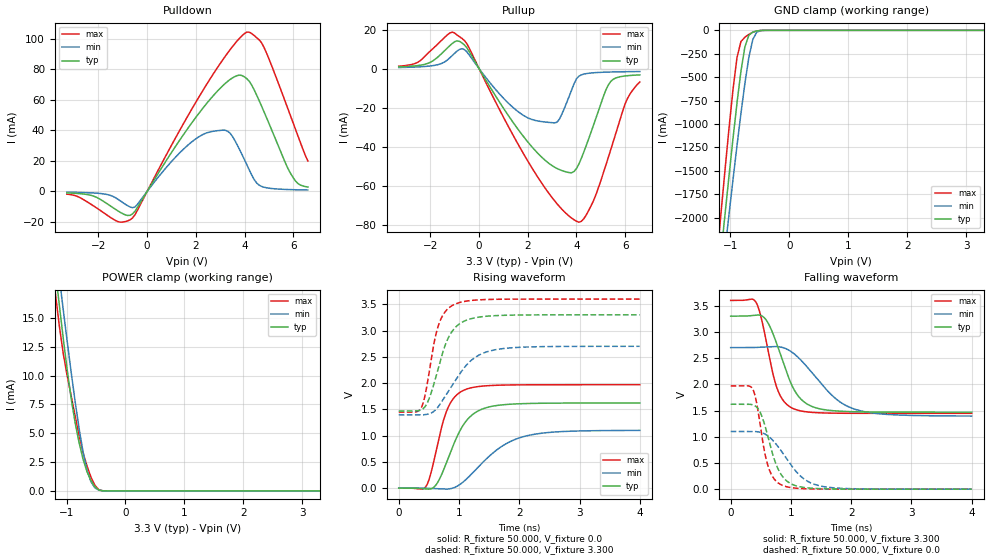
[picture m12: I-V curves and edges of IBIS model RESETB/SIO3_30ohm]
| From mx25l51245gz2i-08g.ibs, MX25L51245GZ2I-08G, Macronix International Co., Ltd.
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|   Model RESETB/SIO3_30ohm
[Model] RESETB/SIO3_30ohm
Model_type I/O
Vinl = 0.8
Vinh = 2.31
Vmeas = 1.65
Vref = 3.3
Cref = 30pF
Rref = 25000
Polarity   Non-Inverting
Enable   Active-High
C_comp   5.061pF   4.478pF   5.895pF
[Temperature Range]   25.000   85.000   -40.000
[Voltage Range]   3.300V   2.700V   3.600V
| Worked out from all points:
|   slope of the pulldown table from 0 to 0.495 V, typ, clamps not added: 38.5 ohm
|   slope of the pullup table from 0 to 0.495 V, typ, clamps not added: 48 ohm
|   GND clamp passes 1 mA (typ) near -0.46 V on its own axis
|   POWER clamp passes 1 mA (typ) near -0.60 V on its own axis
|   rising waveform, R_fixture 50.000, V_fixture 0.0: 20-80 % time 396ps typ, 671ps min, 278ps max; typ from 0 V to 1.62 V
|   rising waveform, R_fixture 50.000, V_fixture 3.300: 20-80 % time 313ps typ, 491ps min, 225ps max; typ from 1.47 V to 3.3 V
|   falling waveform, R_fixture 50.000, V_fixture 3.300: 20-80 % time 373ps typ, 640ps min, 258ps max; typ from 3.3 V to 1.47 V
|   falling waveform, R_fixture 50.000, V_fixture 0.0: 20-80 % time 267ps typ, 450ps min, 192ps max; typ from 1.62 V to 0 V
[Pulldown]
|Voltage   I(typ)   I(min)   I(max)
-3.3V     -1.012mA   -535uA     -1.793mA
-2.2V     -3.111mA   -1.05mA    -9.544mA
-1.2V     -12.79mA   -5.179mA   -19.81mA
-600mV    -14.73mA   -10.67mA   -17.37mA
1.3V      32.69mA    24.63mA    38.92mA
2.4V      56.71mA    38.03mA    68.97mA
3.3V      71.96mA    39.48mA    90.5mA
4.1V      73.69mA    17.22mA    104.3mA
4.5V      62.92mA    5.432mA    100.6mA
4.8V      52.09mA    2.715mA    94.25mA
5.9V      11.47mA    1.148mA    48.92mA
6.6V      2.853mA    902.4uA    19.91mA
[Pullup]
|Voltage   I(typ)   I(min)   I(max)
-3.3V     883.2uA    574.5uA    1.25mA
-2.1V     2.727mA    1.243mA    7.89mA
-1.2V     11.8mA     5.552mA    18.27mA
-700mV    13.16mA    10.19mA    15.44mA
1.2V      -23.99mA   -17.65mA   -29.57mA
2.3V      -41.86mA   -26.52mA   -53.42mA
3.2V      -51.14mA   -27.44mA   -69.19mA
4.1V      -48.82mA   -3.867mA   -78.65mA
4.7V      -28.92mA   -2.118mA   -67.62mA
5.4V      -6.683mA   -1.726mA   -41.8mA
6V        -3.752mA   -1.585mA   -17.96mA
6.6V      -3.216mA   -1.503mA   -6.866mA
[GND_clamp]
|Voltage   I(typ)   I(min)   I(max)
-3.3V     -16.23A    -15.29A    -17.38A
-1.223V   -2.783A    -3.091A    -2.392A
-1.156V   -2.364A    -2.709A    -1.929A
-1.089V   -1.951A    -2.331A    -1.475A
-1.022V   -1.545A    -1.957A    -1.037A
-888mV    -775.2mA   -1.232A    -290.6mA
-821mV    -436.7mA   -887.4mA   -119.8mA
-754mV    -176.6mA   -566.8mA   -73.99mA
-620mV    -18.94mA   -98.07mA   -19.97mA
-553mV    -6.72mA    -19.76mA   -6.453mA
-419mV    -212uA     -410.3uA   -100.3uA
3.3V      0A         0A         0A
[POWER_clamp]
|Voltage   I(typ)   I(min)   I(max)
-3.266V   120.5mA    115.3mA    127.3mA
-1.189V   19.07mA    21.32mA    17.11mA
-1.122V   16.07mA    18.46mA    14.27mA
-1.055V   13.17mA    15.66mA    11.87mA
-921mV    7.978mA    10.25mA    8.227mA
-854mV    5.896mA    7.725mA    6.492mA
-787mV    4.181mA    5.399mA    4.778mA
-720mV    2.755mA    3.383mA    3.317mA
-653mV    1.666mA    1.816mA    2.16mA
-586mV    894.9uA    791.3uA    1.195mA
-452mV    86.45uA    64.08uA    105.6uA
3.3V      0A         0A         0A
[Ramp]
| variable   typ   min   max
dV/dt_r   0.972/0.402n   0.659/0.672n   1.181/0.283n
dV/dt_f   1.099/0.378n   0.783/0.650n   1.292/0.265n
R_load = 50.000
[Rising Waveform]
R_fixture= 50.000
V_fixture= 0.0
V_fixture_min= 0.0
V_fixture_max= 0.0
|time   V(typ)   V(min)   V(max)
0s        1.292uV    1.306uV    1.229uV
456ps     -18.77mV   -3.634mV   38.24mV
526ps     -17.28mV   -6.555mV   250.8mV
618ps     59.63mV    -11.56mV   696.8mV
798ps     501.3mV    -20.27mV   1.478V
923ps     864.6mV    9.906mV    1.728V
1.093ns   1.238V     139.4mV    1.87V
1.418ns   1.519V     515.8mV    1.945V
2.048ns   1.608V     972.1mV    1.966V
4ns       1.62V      1.099V     1.968V
[Rising Waveform]
R_fixture= 50.000
V_fixture= 3.300
V_fixture_min= 2.700
V_fixture_max= 3.600
|time   V(typ)   V(min)   V(max)
0s        1.468V     1.394V     1.446V
376ps     1.491V     1.393V     1.534V
498ps     1.685V     1.413V     2.156V
586ps     1.991V     1.464V     2.765V
656ps     2.283V     1.55V      3.089V
788ps     2.773V     1.78V      3.382V
918ps     3.032V     2.011V     3.495V
1.218ns   3.231V     2.447V     3.575V
1.588ns   3.283V     2.631V     3.595V
4ns       3.3V       2.7V       3.6V
[Falling Waveform]
R_fixture= 50.000
V_fixture= 3.300
V_fixture_min= 2.700
V_fixture_max= 3.600
|time   V(typ)   V(min)   V(max)
0s        3.3V       2.7V       3.6V
420ps     3.321V     2.703V     3.565V
586ps     3.232V     2.712V     2.848V
760ps     2.789V     2.72V      1.957V
869ps     2.429V     2.7V       1.697V
1.026ns   1.957V     2.606V     1.543V
1.355ns   1.575V     2.214V     1.464V
1.735ns   1.493V     1.734V     1.449V
2.048ns   1.477V     1.53V      1.447V
4ns       1.469V     1.395V     1.446V
[Falling Waveform]
R_fixture= 50.000
V_fixture= 0.0
V_fixture_min= 0.0
V_fixture_max= 0.0
|time   V(typ)   V(min)   V(max)
0s        1.62V      1.101V     1.969V
369ps     1.608V     1.101V     1.903V
429ps     1.569V     1.097V     1.656V
495ps     1.455V     1.084V     1.191V
619ps     1.002V     1.016V     446mV
744ps     502.8mV    873mV      165.2mV
859ps     243.6mV    697.6mV    72.5mV
1.178ns   39.35mV    230.1mV    11.23mV
1.518ns   8.516mV    54.04mV    2.468mV
4ns       231.8uV    138.1uV    297.6uV
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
